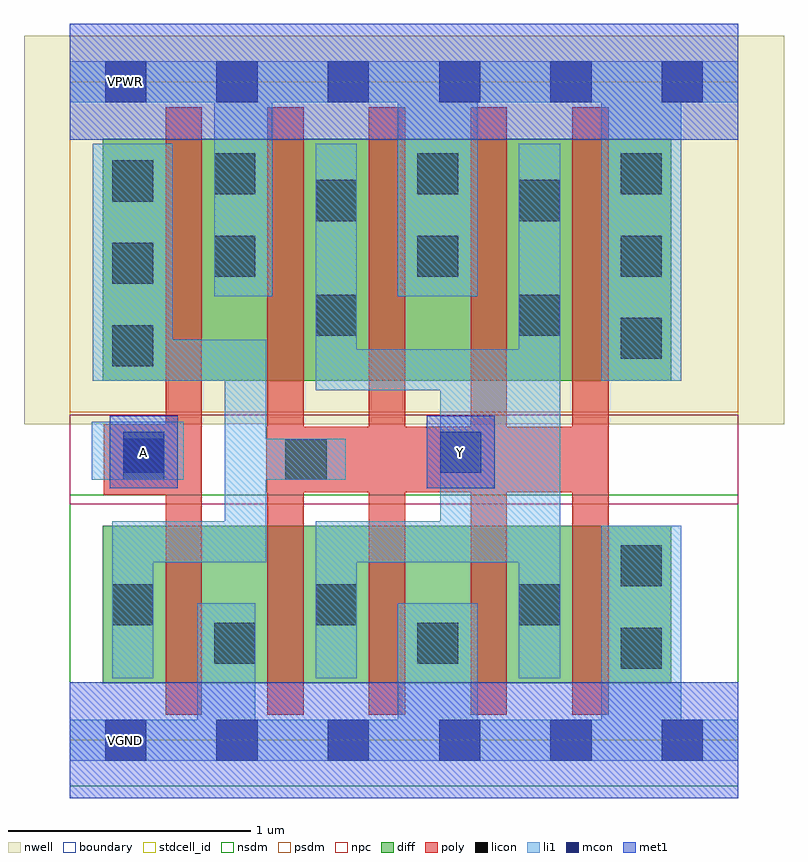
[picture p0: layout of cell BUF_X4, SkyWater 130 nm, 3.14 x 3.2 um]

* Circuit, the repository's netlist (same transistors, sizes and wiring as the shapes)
.subckt BUF_X4 A Y VPWR VGND VNB
M0 yb A VPWR nwell_i sky130_fd_pr__pfet_01v8 L=0.15u W=1.0u
M1 yb A VGND VNB sky130_fd_pr__nfet_01v8 L=0.15u W=0.65u
M2 Y yb VPWR nwell_i sky130_fd_pr__pfet_01v8 L=0.15u W=4.0u
M3 Y yb VGND VNB sky130_fd_pr__nfet_01v8 L=0.15u W=2.6u
.ends

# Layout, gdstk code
import gdstk
lib = gdstk.Library(unit=1e-6, precision=1e-09)
def R(c, l, rs):  # rectangles x0, y0, x1, y1
    for r in rs: c.add(gdstk.rectangle(r[:2], r[2:], *l))
def A(c, l, x, y, w, h, nx, ny, dx, dy):  # array of equal rectangles
    R(c, l, [(x+i*dx, y+j*dy, x+i*dx+w, y+j*dy+h) for i in range(nx) for j in range(ny)])
nwell = (64, 20)
diff = (65, 20)
poly = (66, 20)
licon = (66, 44)
li1 = (67, 20)
mcon = (67, 44)
met1 = (68, 20)
stdcell_id = (81, 4)
nsdm = (93, 44)
psdm = (94, 20)
npc = (95, 20)
boundary = (235, 4)

buf_x4 = lib.new_cell('BUF_X4')
R(buf_x4, nwell, [(-0.19,1.305,2.95,2.91)])
R(buf_x4, diff, [(0.135,0.235,2.485,0.885), (0.135,1.485,2.485,2.485)])
A(buf_x4, poly, 0.395, 0.105, 0.15, 2.51, 5, 1, 0.42, 0)
R(buf_x4, poly, [(0.14,1.015,0.395,1.305), (0.81,1.025,2.225,1.295)])
A(buf_x4, licon, 0.175, 0.475, 0.17, 0.17, 3, 1, 0.84, 0)
A(buf_x4, licon, 0.175, 1.545, 0.17, 0.17, 1, 3, 0, 0.34)
A(buf_x4, licon, 0.595, 1.915, 0.17, 0.17, 3, 2, 0.84, 0.34)
R(buf_x4, licon, [(2.275,0.295,2.445,0.465), (0.595,0.315,0.765,0.485), (1.435,0.315,1.605,0.485), (2.275,0.635,2.445,0.805), (0.22,1.075,0.39,1.245), (0.89,1.075,1.06,1.245), (2.275,1.575,2.445,1.745), (1.015,1.67,1.185,1.84), (1.855,1.67,2.025,1.84), (1.015,2.145,1.185,2.315), (1.855,2.145,2.025,2.315)])
A(buf_x4, li1, 0.175, 0.255, 0.17, 0.65, 3, 1, 0.84, 0)
R(buf_x4, li1, [(0,-0.085,2.76,0.085), (0.525,0.085,0.765,0.565), (1.355,0.085,1.685,0.565), (2.195,0.085,2.525,0.885), (0.175,0.735,0.81,0.905), (1.015,0.735,2.025,0.905), (0.64,0.905,0.81,1.485), (1.53,0.905,2.025,1.445), (0.09,1.075,0.47,1.315), (0.81,1.075,1.14,1.245), (1.015,1.445,2.025,1.615), (0.095,1.485,0.81,1.655), (2.195,1.485,2.525,2.635), (1.015,1.615,1.185,2.465), (1.855,1.615,2.025,2.465), (0.095,1.655,0.425,2.465), (0.595,1.835,0.835,2.635), (1.355,1.835,1.685,2.635), (0,2.635,2.76,2.805)])
A(buf_x4, mcon, 0.145, -0.085, 0.17, 0.17, 6, 2, 0.46, 2.72)
R(buf_x4, mcon, [(0.22,1.105,0.39,1.275), (1.53,1.105,1.7,1.275)])
R(buf_x4, met1, [(0,-0.24,2.76,0.24), (0.165,1.04,0.445,1.34), (1.475,1.04,1.755,1.34), (0,2.48,2.76,2.96)])
R(buf_x4, stdcell_id, [(0,0,2.76,2.72)])
R(buf_x4, nsdm, [(0,-0.19,2.76,1.015)])
R(buf_x4, psdm, [(0,1.355,2.76,2.91)])
R(buf_x4, npc, [(0,0.975,2.76,1.345)])
R(buf_x4, boundary, [(0,0,2.76,2.72)])
buf_x4.add(gdstk.Label('VPWR', (0.23,2.72), layer=68, texttype=5))
buf_x4.add(gdstk.Label('VGND', (0.23,0), layer=68, texttype=5))
buf_x4.add(gdstk.Label('A', (0.305,1.19), layer=68, texttype=5))
buf_x4.add(gdstk.Label('Y', (1.615,1.19), layer=68, texttype=5))

lib.write_gds('BUF_X4.gds')
